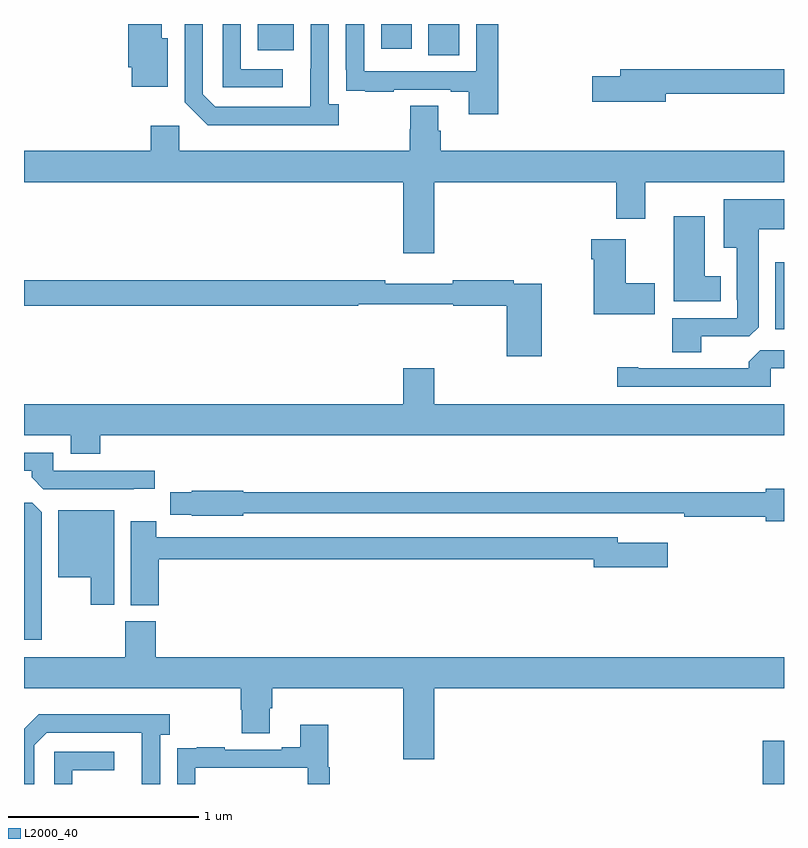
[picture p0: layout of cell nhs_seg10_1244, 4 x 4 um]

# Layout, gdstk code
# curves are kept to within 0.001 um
import gdstk
lib = gdstk.Library(unit=1e-6, precision=1e-09)
def R(c, l, rs):  # rectangles x0, y0, x1, y1
    for r in rs: c.add(gdstk.rectangle(r[:2], r[2:], *l))
def P(c, l, *ps):  # polygons
    for p in ps: c.add(gdstk.Polygon(p, *l))
L2000_40 = (2000, 40)

nhs_seg10_1244 = lib.new_cell('nhs_seg10_1244')
R(nhs_seg10_1244, L2000_40, [(178.889,1278.5,179,1278.727), (178.955,1280.894,179,1281.247), (177.128,1282.336,177.292,1282.5), (176.231,1282.361,176.419,1282.5), (176.879,1282.371,177.04,1282.5)])
P(nhs_seg10_1244, L2000_40, [(176.656,1282.078),(176.604,1282.078),(176.604,1282.5),(176.508,1282.5),(176.507,1282.065),(176.007,1282.065),(175.941,1282.131),(175.941,1282.5),(175.845,1282.5),(175.845,1282.089),(175.966,1281.968),(176.656,1281.968)],
  [(175.756,1282.426),(175.726,1282.426),(175.726,1282.5),(175.549,1282.5),(175.549,1282.273),(175.568,1282.273),(175.568,1282.169),(175.756,1282.169)],
  [(177.497,1282.5),(177.381,1282.5),(177.381,1282.251),(176.79,1282.251),(176.79,1282.5),(176.694,1282.5),(176.694,1282.258),(176.695,1282.258),(176.695,1282.149),(176.797,1282.149),(176.797,1282.143),(176.945,1282.143),(176.945,1282.155),(177.245,1282.155),(177.245,1282.143),(177.341,1282.143),(177.341,1282.026),(177.497,1282.026)],
  [(176.362,1282.263),(176.142,1282.263),(176.142,1282.5),(176.046,1282.5),(176.046,1282.167),(176.362,1282.167)],
  [(178.378,1282.134),(179,1282.134),(179,1282.262),(178.139,1282.262),(178.139,1282.226),(177.99,1282.226),(177.99,1282.091),(178.378,1282.091)],
  [(177.16,1281.668),(178.118,1281.668),(178.118,1281.474),(178.27,1281.474),(178.27,1281.668),(179,1281.668),(179,1281.832),(177.194,1281.832),(177.194,1281.938),(177.181,1281.938),(177.181,1282.07),(177.034,1282.07),(177.034,1281.945),(177.029,1281.945),(177.029,1281.832),(175.818,1281.832),(175.818,1281.964),(175.667,1281.964),(175.667,1281.832),(175,1281.832),(175,1281.668),(176.996,1281.668),(176.996,1281.294),(177.16,1281.294)],
  [(178.564,1280.856),(178.818,1280.856),(178.867,1280.905),(178.867,1281.419),(179,1281.419),(179,1281.577),(178.682,1281.577),(178.682,1281.323),(178.751,1281.323),(178.751,1281.049),(178.755,1281.049),(178.755,1280.952),(178.412,1280.952),(178.412,1280.773),(178.564,1280.773)],
  [(178.666,1281.172),(178.582,1281.172),(178.582,1281.487),(178.421,1281.487),(178.421,1281.041),(178.666,1281.041)],
  [(178.321,1281.135),(178.168,1281.135),(178.168,1281.367),(177.986,1281.367),(177.986,1281.263),(177.998,1281.263),(177.998,1280.972),(178.321,1280.972)],
  [(177.725,1281.132),(177.578,1281.132),(177.578,1281.152),(177.256,1281.152),(177.256,1281.133),(176.9,1281.133),(176.9,1281.152),(175,1281.152),(175,1281.016),(176.758,1281.016),(176.758,1281.024),(177.258,1281.024),(177.258,1281.016),(177.542,1281.016),(177.542,1280.751),(177.725,1280.751)],
  [(178.929,1280.688),(179,1280.688),(179,1280.784),(178.875,1280.784),(178.814,1280.722),(178.814,1280.688),(178.234,1280.688),(178.234,1280.693),(178.122,1280.693),(178.122,1280.592),(178.929,1280.592)],
  [(175.4,1280.336),(179,1280.336),(179,1280.5),(177.16,1280.5),(177.16,1280.689),(176.996,1280.689),(176.996,1280.5),(175,1280.5),(175,1280.336),(175.247,1280.336),(175.247,1280.237),(175.4,1280.237)],
  [(175.577,1280.053),(175.688,1280.053),(175.688,1280.148),(175.155,1280.148),(175.155,1280.244),(175,1280.244),(175,1280.148),(175.04,1280.148),(175.04,1280.114),(175.101,1280.052),(175.577,1280.051)],
  [(179,1280.053),(178.904,1280.053),(178.904,1280.035),(176.154,1280.035),(176.154,1280.043),(175.882,1280.043),(175.882,1280.036),(175.771,1280.036),(175.771,1279.916),(175.882,1279.916),(175.882,1279.913),(176.154,1279.913),(176.154,1279.926),(178.222,1279.926),(178.222,1279.925),(178.474,1279.925),(178.474,1279.906),(178.904,1279.906),(178.904,1279.883),(179,1279.883)],
  [(175.093,1279.931),(175.044,1279.98),(175,1279.98),(175,1279.259),(175.093,1279.259)],
  [(175.474,1279.942),(175.181,1279.942),(175.181,1279.589),(175.352,1279.589),(175.352,1279.443),(175.474,1279.443)],
  [(175.709,1279.684),(177.998,1279.684),(177.998,1279.642),(178.387,1279.642),(178.387,1279.771),(178.126,1279.771),(178.126,1279.8),(175.697,1279.8),(175.697,1279.883),(175.562,1279.883),(175.562,1279.441),(175.709,1279.441)],
  [(177.16,1279.004),(179,1279.004),(179,1279.168),(175.694,1279.168),(175.694,1279.356),(175.534,1279.356),(175.534,1279.168),(175,1279.168),(175,1279.004),(176.141,1279.004),(176.141,1278.891),(176.146,1278.891),(176.146,1278.766),(176.293,1278.766),(176.293,1278.898),(176.306,1278.898),(176.306,1279.004),(176.996,1279.004),(176.996,1278.63),(177.16,1278.63)],
  [(175.053,1278.705),(175.119,1278.771),(175.619,1278.771),(175.62,1278.5),(175.716,1278.5),(175.716,1278.758),(175.768,1278.758),(175.768,1278.868),(175.078,1278.868),(175,1278.79),(175,1278.5),(175.053,1278.5)],
  [(175.902,1278.585),(176.493,1278.585),(176.493,1278.5),(176.609,1278.5),(176.609,1278.588),(176.602,1278.588),(176.602,1278.811),(176.453,1278.811),(176.453,1278.694),(176.357,1278.694),(176.357,1278.681),(176.057,1278.681),(176.057,1278.694),(175.909,1278.694),(175.909,1278.687),(175.807,1278.687),(175.807,1278.578),(175.806,1278.578),(175.806,1278.5),(175.902,1278.5)],
  [(175.254,1278.573),(175.474,1278.573),(175.474,1278.669),(175.158,1278.669),(175.158,1278.5),(175.254,1278.5)])

lib.write_gds('nhs_seg10_1244.gds')
